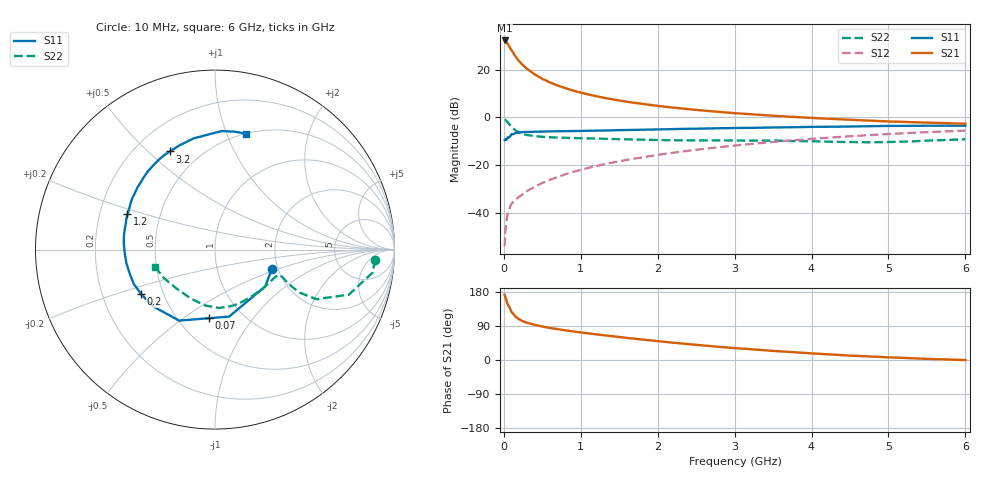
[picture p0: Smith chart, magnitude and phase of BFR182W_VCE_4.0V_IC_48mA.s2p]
! (c) 2017  Infineon Technologies AG, Munich
! Infineon Technologies  Discrete & RF Semiconductors
! BFR182W
! VCE =  4.0 V,  IC =  48 mA
! Common Emitter S-Parameters:  Jan 2017
# GHz  S  MA  R  50
!  f  S11  S21  S12  S22
! GHz  MAG  ANG  MAG  ANG  MAG  ANG  MAG  ANG
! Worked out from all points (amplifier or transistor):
!   77 points, 10 MHz to 6 GHz, reference 50 ohm
!   highest |S21| = 32.2 dB at 10 MHz (marker M1)
!   |S21| within 3 dB of that: start of sweep to 78.79 MHz
!   unconditionally stable (mu >= 1): start of sweep to 11.27 MHz; 311.5 MHz to 2.48 GHz
!   at 130 MHz: K = 0.67, MSG = 30.9 dB, |S12| = -35.1 dB
!   at 2.2 GHz: K = 1.03, MAG = 8.4 dB, |S12| = -14.8 dB
!   at 6 GHz: K = 0.94, MSG = 1.4 dB, |S12| = -5.6 dB
!   S11 on the Smith chart (normalised r, x): 10 MHz: 1.86, -0.45; 70 MHz: 0.70, -0.63; 200 MHz: 0.37, -0.24; 1.2 GHz: 0.32, +0.18; 3.2 GHz: 0.34, +0.59; 6 GHz: 0.50, +1.17
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0.01  0.3341 -18.6  40.73 172.5  0.002 73.5  0.8949 -3.7
0.02  0.3472 -36.3  40.44 165.5  0.0042 81.8  0.8865 -8.4
0.05  0.3813 -78.0  34.67 146.7  0.0097 66.0  0.7871 -18.6
0.07  0.3835 -94.8  30.5 140.1  0.012 65.1  0.7231 -21.2
0.1  0.4434 -116.8  25.33 126.3  0.0155 64.2  0.6306 -26.0
0.15  0.467 -137.1  18.96 114.7  0.0188 58.6  0.5332 -26.9
0.2  0.4803 -148.8  14.92 107.4  0.0217 62.5  0.4792 -25.9
0.25  0.491 -156.9  12.27 102.1  0.0248 62.6  0.4475 -24.6
0.3  0.493 -163.0  10.36 98.4  0.0284 65.2  0.4261 -23.5
0.4  0.4991 -171.0  7.93 92.6  0.0348 68.4  0.404 -22.1
0.5  0.5028 -177.0  6.398 88.3  0.0423 70.6  0.3904 -21.6
0.7  0.5112 174.3  4.63 81.4  0.0561 73.6  0.3769 -22.4
0.9  0.5156 166.9  3.629 75.5  0.0719 74.3  0.3684 -24.6
1.1  0.5234 160.6  3.008 70.3  0.0874 75.2  0.3616 -27.4
1.2  0.5262 157.9  2.771 67.7  0.0952 75.0  0.3585 -28.9
1.6  0.5428 147.8  2.122 58.3  0.1282 74.1  0.3462 -36.6
2.1  0.5614 136.3  1.667 47.8  0.1722 71.3  0.3326 -48.6
3.1  0.5993 116.6  1.193 30.0  0.2652 63.1  0.3262 -75.5
3.2  0.6018 114.7  1.164 28.6  0.2749 62.2  0.3252 -78.1
4.1  0.6321 99.5  0.954 16.3  0.3628 52.7  0.3121 -102.4
5.1  0.6615 85.5  0.81 6.2  0.4547 41.0  0.3063 -137.2
6  0.6685 75.0  0.734 -0.1  0.5268 30.2  0.3478 -164.0
